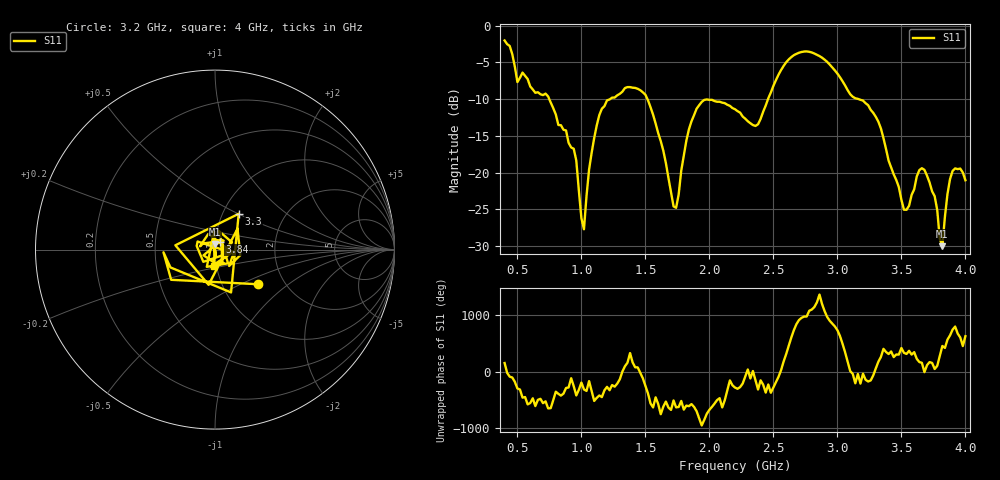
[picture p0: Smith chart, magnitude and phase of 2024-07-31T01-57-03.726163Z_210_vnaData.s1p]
!Created with skrf (http://scikit-rf.org).
# Hz S RI R 50.0
!freq ReS11 ImS11
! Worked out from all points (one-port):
!   181 points, 400 MHz to 4 GHz, reference 50 ohm
!   lowest |S11| = -30.0 dB at 3.82 GHz (marker M1), VSWR 1.07, Z = 49.7 + j3.13 ohm
!   |S11| at or under -10 dB: 748.8 MHz to 1.224 GHz (475.3 MHz wide, 48.2 % of centre); 1.516 GHz to 2.458 GHz (942.1 MHz wide, 47.4 % of centre); 3.165 GHz to end of sweep
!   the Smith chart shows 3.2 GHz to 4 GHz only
!   S11 on the Smith chart (normalised r, x): 3.2 GHz: 1.48, -0.63; 3.3 GHz: 1.19, +0.50; 3.84 GHz: 1.05, +0.09; 4 GHz: 0.98, -0.17
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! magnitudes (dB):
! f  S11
! 400 MHz  -2.0
! 500 MHz  -7.7
! 720 MHz  -9.3
! 860 MHz  -14.2
! 960 MHz  -18.4
! 1.02 GHz  -27.7
! 1.06 GHz  -19.6
! 1.14 GHz  -12.2
! 1.3 GHz  -9.3
! 1.5 GHz  -9.4
! 1.72 GHz  -24.6
! 1.76 GHz  -23.0
! 1.82 GHz  -15.6
! 1.9 GHz  -11.3
! 2.2 GHz  -11.4
! 2.38 GHz  -13.4
! 2.66 GHz  -4.0
! 3.1 GHz  -9.3
! 3.2 GHz  -10.2
! 3.3 GHz  -12.4
! 3.52 GHz  -25.1
! 3.56 GHz  -24.5
! 3.68 GHz  -19.6
! 3.76 GHz  -23.2
! 3.82 GHz  -30.0
! 3.84 GHz  -26.0
! 3.9 GHz  -19.8
! 4 GHz  -21.0
